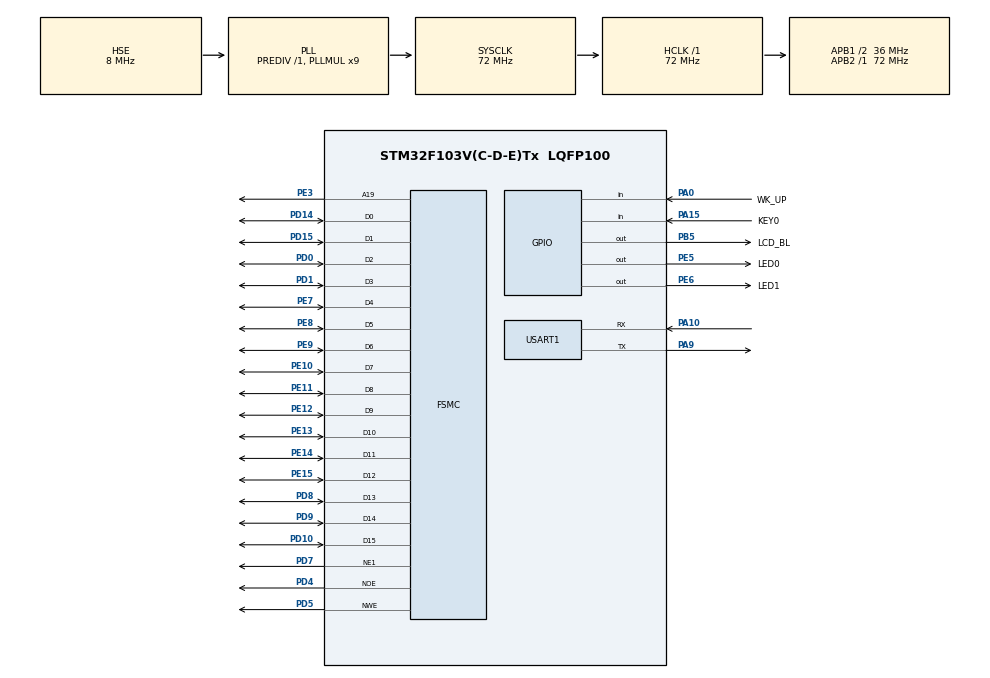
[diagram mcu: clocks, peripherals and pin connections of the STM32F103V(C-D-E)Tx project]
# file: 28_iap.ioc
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FSMC.AddressSetupTime1=0
FSMC.DataSetupTime1=15
FSMC.ExtendedAddressSetupTime1=0
FSMC.ExtendedDataSetupTime1=1
FSMC.ExtendedMode1=FSMC_EXTENDED_MODE_ENABLE
Mcu.Family=STM32F1
Mcu.Name=STM32F103V(C-D-E)Tx
Mcu.Package=LQFP100
NVIC.PriorityGroup=NVIC_PRIORITYGROUP_2
NVIC.USART1_IRQn=true\:2\:2\:true\:false\:true\:true\:true\:true
OSC_IN.Mode=HSE-External-Oscillator
OSC_IN.Signal=RCC_OSC_IN
OSC_OUT.Mode=HSE-External-Oscillator
OSC_OUT.Signal=RCC_OSC_OUT
PA0-WKUP.GPIO_Label=WK_UP
PA0-WKUP.GPIO_PuPd=GPIO_PULLDOWN
PA0-WKUP.Signal=GPIO_Input
PA10.Mode=Asynchronous
PA10.Signal=USART1_RX
PA13.Mode=Serial_Wire
PA13.Signal=SYS_JTMS-SWDIO
PA14.Mode=Serial_Wire
PA14.Signal=SYS_JTCK-SWCLK
PA15.GPIO_Label=KEY0
PA15.GPIO_PuPd=GPIO_PULLDOWN
PA15.Signal=GPIO_Input
PA9.Mode=Asynchronous
PA9.Signal=USART1_TX
PB5.GPIO_Label=LCD_BL
PB5.GPIO_PuPd=GPIO_PULLUP
PB5.GPIO_Speed=GPIO_SPEED_FREQ_HIGH
PB5.PinState=GPIO_PIN_SET
PB5.Signal=GPIO_Output
PC14-OSC32_IN.Mode=LSE-External-Oscillator
PC14-OSC32_IN.Signal=RCC_OSC32_IN
PC15-OSC32_OUT.Mode=LSE-External-Oscillator
PC15-OSC32_OUT.Signal=RCC_OSC32_OUT
PD0.Mode=16b-d1
PD0.Signal=FSMC_D2
PD1.Mode=16b-d1
PD1.Signal=FSMC_D3
PD10.Mode=16b-d1
PD10.Signal=FSMC_D15
PD14.Mode=16b-d1
PD14.Signal=FSMC_D0
PD15.Mode=16b-d1
PD15.Signal=FSMC_D1
PD4.Mode=Lcd1
PD4.Signal=FSMC_NOE
PD5.Mode=Lcd1
PD5.Signal=FSMC_NWE
PD7.Mode=NorPsramChipSelect1_1
PD7.Signal=FSMC_NE1
PD8.Mode=16b-d1
PD8.Signal=FSMC_D13
PD9.Mode=16b-d1
PD9.Signal=FSMC_D14
PE10.Mode=16b-d1
PE10.Signal=FSMC_D7
PE11.Mode=16b-d1
PE11.Signal=FSMC_D8
PE12.Mode=16b-d1
PE12.Signal=FSMC_D9
PE13.Mode=16b-d1
PE13.Signal=FSMC_D10
PE14.Mode=16b-d1
PE14.Signal=FSMC_D11
PE15.Mode=16b-d1
PE15.Signal=FSMC_D12
PE3.Mode=A19_1
PE3.Signal=FSMC_A19
PE5.GPIO_Label=LED0
PE5.GPIO_PuPd=GPIO_PULLUP
PE5.GPIO_Speed=GPIO_SPEED_FREQ_HIGH
PE5.PinState=GPIO_PIN_SET
PE5.Signal=GPIO_Output
PE6.GPIO_Label=LED1
PE6.GPIO_PuPd=GPIO_PULLUP
PE6.GPIO_Speed=GPIO_SPEED_FREQ_HIGH
PE6.PinState=GPIO_PIN_SET
PE6.Signal=GPIO_Output
PE7.Mode=16b-d1
PE7.Signal=FSMC_D4
PE8.Mode=16b-d1
PE8.Signal=FSMC_D5
PE9.Mode=16b-d1
PE9.Signal=FSMC_D6
ProjectManager.HeapSize=0x200
ProjectManager.StackSize=0x400
ProjectManager.TargetToolchain=STM32CubeIDE
RCC.AHBFreq_Value=72000000
RCC.APB1CLKDivider=RCC_HCLK_DIV2
RCC.APB1Freq_Value=36000000
RCC.APB1TimFreq_Value=72000000
RCC.APB2Freq_Value=72000000
RCC.APB2TimFreq_Value=72000000
RCC.HCLKFreq_Value=72000000
RCC.PLLMUL=RCC_PLL_MUL9
RCC.PLLSourceVirtual=RCC_PLLSOURCE_HSE
RCC.SYSCLKFreq_VALUE=72000000
RCC.SYSCLKSource=RCC_SYSCLKSOURCE_PLLCLK
RCC.USBFreq_Value=72000000
USART1.VirtualMode=VM_ASYNC
board=custom

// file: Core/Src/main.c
/* USER CODE BEGIN Header */
/**
 ****************************************************************************************************
 * @file        main.c
 * @author      ALIENTEK
 * @brief       IAP_Bootloader code
 * @license     Copyright (C) 2012-2024, ALIENTEK
 ****************************************************************************************************
 * @attention
 *
 * platform     : ALIENTEK M100-STM32F103 board
 * website      : www.alientek.com
 * forum        : www.openedv.com/forum.php
 *
 * change logs  :
 * version      data         notes
 * V1.0         20240409     the first version
 *
 ****************************************************************************************************
 */
/* USER CODE END Header */
#include "main.h"
#include "usart.h"
#include "gpio.h"
#include "fsmc.h"

/* USER CODE BEGIN Includes */
#include "../../BSP/LED/led.h"
#include "../../BSP/KEY/key.h"
#include "../../BSP/LCD/lcd.h"
#include "../../BSP/STMFLASH/stmflash.h"
#include "../../ATK_Middlewares/IAP/iap.h"
/* USER CODE END Includes */

/* USER CODE BEGIN PV */
extern uint32_t g_usart_rx_cnt;
/* USER CODE END PV */

void SystemClock_Config(void);
/* USER CODE BEGIN PFP */
extern void iap_load_app(uint32_t appxaddr);
extern void iap_write_appbin(uint32_t appxaddr,uint8_t *appbuf,uint32_t applen);
/* USER CODE END PFP */

/* USER CODE BEGIN 0 */
/**
 * @brief   Displays information about the experiment
 * @param   None
 * @retval  None
 */
void stm32f103ve_show_mesg(void)
{
	/* The serial port outputs the experimental information */
	printf("\n");
	printf("********************************\r\n");
	printf("STM32F103\r\n");
	printf("IAP Test\r\n");
	printf("ATOM@ALIENTEK\r\n");
	printf("WKUP:Starting firmware update\r\n");
	printf("KEY0:Start executing FLASH user code\r\n");
	printf("********************************\r\n");
	printf("\r\n");
}
/* USER CODE END 0 */

int main(void)
{
  /* USER CODE BEGIN 1 */
  uint8_t t = 0;
  uint8_t key;
  uint32_t lastcount = 0;
  uint32_t applenth = 0;
  uint8_t clearflag = 0;
  /* USER CODE END 1 */

  /* MCU Configuration--------------------------------------------------------*/

  /* Reset of all peripherals, Initializes the Flash interface and the Systick. */
  HAL_Init();

  /* Configure the system clock */
  SystemClock_Config();

  /* Initialize all configured peripherals */
  MX_GPIO_Init();
  MX_USART1_UART_Init();
  MX_FSMC_Init();
  /* USER CODE BEGIN 2 */
  lcd_init();                                         /* Initialize LCD */
  stm32f103ve_show_mesg();

  lcd_show_string(30, 50, 200, 16, 16, "STM32", RED);
  lcd_show_string(30, 70, 200, 16, 16, "IAP TEST", RED);
  lcd_show_string(30, 90, 200, 16, 16, "ATOM@ALIENTEK", RED);

  lcd_show_string(30, 90, 200, 16, 16, "WKUP: Copy app 2 flash", RED);
  lcd_show_string(30, 110, 200, 16, 16, "KEY0: Run flash app", RED);
  /* USER CODE END 2 */

  /* Infinite loop */
  /* USER CODE BEGIN WHILE */
  while (1)
  {
	  if (g_usart_rx_cnt != 0)
	  {
	     /* If no new data is received in the new loop, the data is considered to be received */
	     if (lastcount == g_usart_rx_cnt)
	     {
	         applenth = g_usart_rx_cnt;
	         lastcount = 0;
	         g_usart_rx_cnt = 0;
	         printf("User program reception complete!\r\n");
	         printf("code length:%dBytes\r\n", applenth);
	     }
	     else
	     {
	         lastcount = g_usart_rx_cnt;
	     }
	  }

	  key = key_scan(0);
	  if (key == WKUP_PRES)
	  {
	      if (applenth != 0)
	      {
	          printf("Start updating firmware...\r\n");
	          lcd_show_string(30, 130, 200, 16, 16, "Copying app 2 flash...", BLUE);
	          if (((*(volatile uint32_t *)(0x20002000 + 4)) & 0xFF000000) == 0x08000000)
	          {
	              iap_write_appbin(FLASH_APP1_ADDR, g_usart_rx_buf, applenth);
	              lcd_show_string(30, 130, 200, 16, 16, "Copy app succedded!   ", BLUE);
	              printf("Firmware update complete!\r\n");
	          }
	          else
	          {
	              lcd_show_string(30, 130, 200, 16, 16, "Illegal flash app!    ", BLUE);
	              printf("Non-flash apps!\r\n");
	          }
	       }
	       else
	       {
	           printf("No firmware to update!\r\n");
	           lcd_show_string(30, 130, 200, 16, 16, "No app!", BLUE);
	       }
	       clearflag = 10;
	  }
	  else if (key == KEY0_PRES)
	  {
	      printf("flash addr :%x \r\n",(*(volatile uint32_t *)(FLASH_APP1_ADDR + 4)) & 0xFF000000);
	      if (((*(volatile uint32_t *)(FLASH_APP1_ADDR + 4)) & 0xFF000000) == 0x08000000)
	      {
	          printf("Start executing FLASH user code!!\r\n\r\n");
	          HAL_Delay(10);
	          iap_load_app(FLASH_APP1_ADDR);
	      }
	      else
	      {
	          printf("No firmware to run!\r\n");
	          lcd_show_string(30, 130, 200, 16, 16, "No APP!", BLUE);
	      }
	      clearflag = 10;
	  }

	  if (++t == 2)
	  {
	      t = 0;

	      if (clearflag != 0)
	      {
	          clearflag--;
	          if (clearflag == 0)
	          {
	              lcd_fill(30, 130, 240, 146, WHITE);
	          }
	      }

	      LED0_TOGGLE(); /* flashing LED0 indicates that the system is running */
	  }

	  HAL_Delay(100);
    /* USER CODE END WHILE */

  }
}

void SystemClock_Config(void)
{
  RCC_OscInitTypeDef RCC_OscInitStruct = {0};
  RCC_ClkInitTypeDef RCC_ClkInitStruct = {0};

  /** Initializes the RCC Oscillators according to the specified parameters
  * in the RCC_OscInitTypeDef structure.
  */
  RCC_OscInitStruct.OscillatorType = RCC_OSCILLATORTYPE_HSE;
  RCC_OscInitStruct.HSEState = RCC_HSE_ON;
  RCC_OscInitStruct.HSEPredivValue = RCC_HSE_PREDIV_DIV1;
  RCC_OscInitStruct.HSIState = RCC_HSI_ON;
  RCC_OscInitStruct.PLL.PLLState = RCC_PLL_ON;
  RCC_OscInitStruct.PLL.PLLSource = RCC_PLLSOURCE_HSE;
  RCC_OscInitStruct.PLL.PLLMUL = RCC_PLL_MUL9;
  if (HAL_RCC_OscConfig(&RCC_OscInitStruct) != HAL_OK)
  {
    Error_Handler();
  }

  /** Initializes the CPU, AHB and APB buses clocks
  */
  RCC_ClkInitStruct.ClockType = RCC_CLOCKTYPE_HCLK|RCC_CLOCKTYPE_SYSCLK
                              |RCC_CLOCKTYPE_PCLK1|RCC_CLOCKTYPE_PCLK2;
  RCC_ClkInitStruct.SYSCLKSource = RCC_SYSCLKSOURCE_PLLCLK;
  RCC_ClkInitStruct.AHBCLKDivider = RCC_SYSCLK_DIV1;
  RCC_ClkInitStruct.APB1CLKDivider = RCC_HCLK_DIV2;
  RCC_ClkInitStruct.APB2CLKDivider = RCC_HCLK_DIV1;

  if (HAL_RCC_ClockConfig(&RCC_ClkInitStruct, FLASH_LATENCY_2) != HAL_OK)
  {
    Error_Handler();
  }
}

void Error_Handler(void)
{
  __disable_irq();
  while (1)
  {
  }
}
